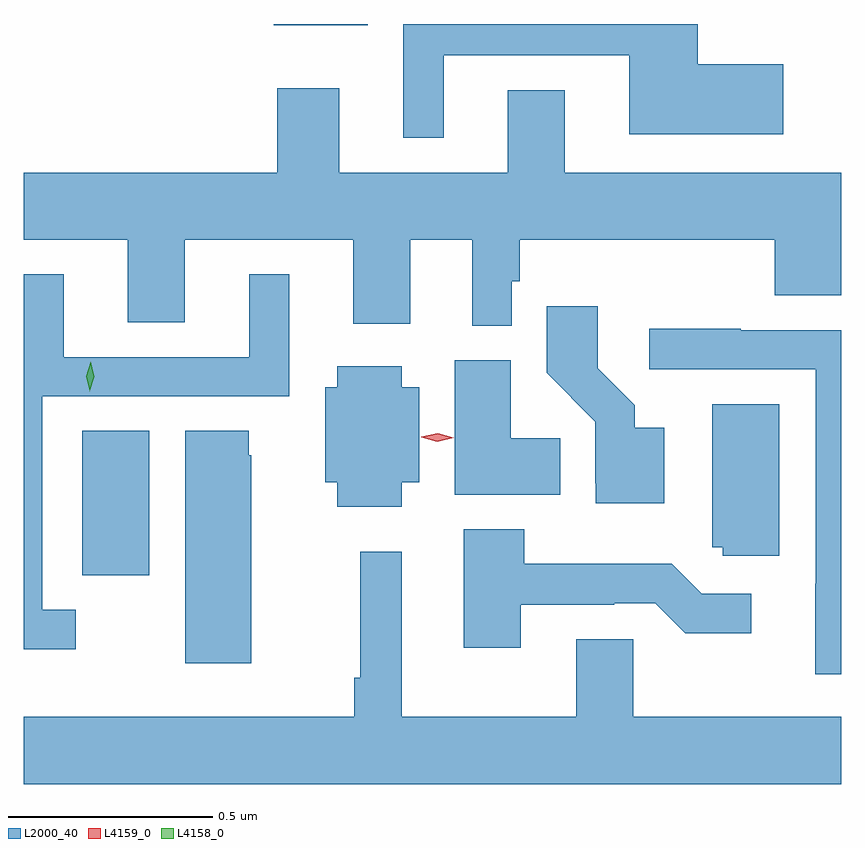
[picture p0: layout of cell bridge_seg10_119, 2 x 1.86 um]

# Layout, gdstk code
import gdstk
lib = gdstk.Library(unit=1e-6, precision=1e-09)
def R(c, l, rs):  # rectangles x0, y0, x1, y1
    for r in rs: c.add(gdstk.rectangle(r[:2], r[2:], *l))
def P(c, l, *ps):  # polygons
    for p in ps: c.add(gdstk.Polygon(p, *l))
L2000_40 = (2000, 40)
L4158_0 = (4158, 0)
L4159_0 = (4159, 0)

bridge_seg10_119 = lib.new_cell('bridge_seg10_119')
R(bridge_seg10_119, L2000_40, [(405.98,1287.507,406.144,1287.86), (406.448,1288.853,406.678,1288.856)])
P(bridge_seg10_119, L2000_40, [(406.864,1288.779),(407.318,1288.779),(407.318,1288.586),(407.695,1288.586),(407.695,1288.757),(407.486,1288.757),(407.486,1288.856),(406.766,1288.856),(406.766,1288.578),(406.864,1288.578)],
  [(407.021,1288.492),(406.609,1288.492),(406.609,1288.699),(406.457,1288.699),(406.457,1288.492),(405.837,1288.492),(405.837,1288.328),(406.091,1288.328),(406.091,1288.126),(406.231,1288.126),(406.231,1288.328),(406.643,1288.328),(406.643,1288.122),(406.783,1288.122),(406.783,1288.328),(406.934,1288.328),(406.934,1288.118),(407.031,1288.118),(407.031,1288.227),(407.051,1288.227),(407.051,1288.328),(407.675,1288.328),(407.675,1288.192),(407.837,1288.192),(407.837,1288.492),(407.161,1288.492),(407.161,1288.694),(407.021,1288.694)],
  [(405.964,1287.423),(405.882,1287.423),(405.882,1287.945),(406.486,1287.945),(406.486,1288.243),(406.388,1288.243),(406.388,1288.041),(405.934,1288.041),(405.934,1288.243),(405.837,1288.243),(405.837,1287.326),(405.964,1287.326)],
  [(407.404,1287.868),(407.332,1287.868),(407.332,1287.923),(407.242,1288.013),(407.242,1288.165),(407.116,1288.165),(407.116,1288.002),(407.235,1287.883),(407.235,1287.732),(407.237,1287.732),(407.237,1287.683),(407.404,1287.683)],
  [(407.837,1288.107),(407.591,1288.107),(407.591,1288.11),(407.367,1288.11),(407.367,1288.011),(407.775,1288.011),(407.775,1287.486),(407.774,1287.486),(407.774,1287.264),(407.837,1287.264)],
  [(407.15,1287.842),(407.029,1287.842),(407.029,1288.033),(406.892,1288.033),(406.892,1287.704),(407.15,1287.704)],
  [(406.762,1287.734),(406.804,1287.734),(406.804,1287.967),(406.762,1287.967),(406.762,1288.018),(406.604,1288.018),(406.604,1287.967),(406.574,1287.967),(406.574,1287.734),(406.604,1287.734),(406.604,1287.674),(406.762,1287.674)],
  [(407.686,1287.925),(407.522,1287.925),(407.522,1287.576),(407.547,1287.576),(407.547,1287.555),(407.686,1287.555)],
  [(406.393,1287.801),(406.387,1287.801),(406.387,1287.86),(406.232,1287.86),(406.232,1287.291),(406.393,1287.291)],
  [(407.053,1287.435),(407.282,1287.435),(407.282,1287.438),(407.382,1287.438),(407.455,1287.365),(407.617,1287.365),(407.617,1287.462),(407.496,1287.462),(407.423,1287.535),(407.061,1287.535),(407.061,1287.619),(406.913,1287.619),(406.913,1287.33),(407.053,1287.33)],
  [(407.837,1287.16),(407.328,1287.16),(407.328,1287.35),(407.189,1287.35),(407.189,1287.16),(406.762,1287.16),(406.762,1287.565),(406.66,1287.565),(406.66,1287.256),(406.645,1287.256),(406.645,1287.16),(405.837,1287.16),(405.837,1286.996),(407.837,1286.996)])
P(bridge_seg10_119, L4158_0, [(405.998,1287.957),(405.998,1287.958),(405.99,1287.994),(406.001,1288.029),(406.001,1288.029),(406.001,1288.029),(406.009,1287.993),(405.998,1287.958)])
P(bridge_seg10_119, L4159_0, [(406.849,1287.834),(406.81,1287.845),(406.81,1287.845),(406.81,1287.846),(406.85,1287.854),(406.889,1287.844),(406.889,1287.844),(406.889,1287.843)])

lib.write_gds('bridge_seg10_119.gds')
